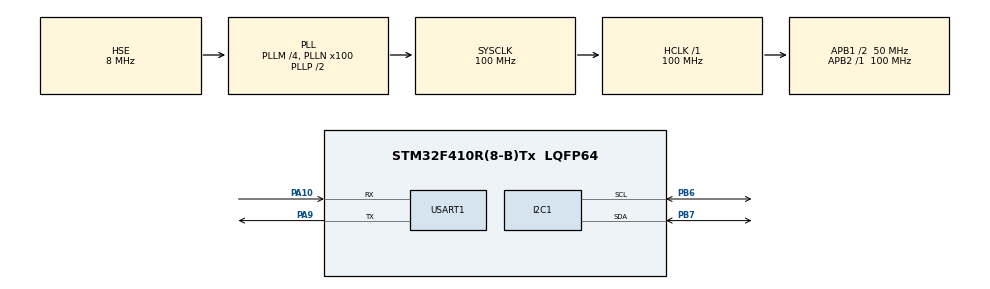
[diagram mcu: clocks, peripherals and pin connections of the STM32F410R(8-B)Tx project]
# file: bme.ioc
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Mcu.Family=STM32F4
Mcu.Name=STM32F410R(8-B)Tx
Mcu.Package=LQFP64
NVIC.PriorityGroup=NVIC_PRIORITYGROUP_4
PA10.Mode=Asynchronous
PA10.Signal=USART1_RX
PA13.Mode=Serial_Wire
PA13.Signal=SYS_JTMS-SWDIO
PA14.Mode=Serial_Wire
PA14.Signal=SYS_JTCK-SWCLK
PA9.Mode=Asynchronous
PA9.Signal=USART1_TX
PB6.Mode=I2C
PB6.Signal=I2C1_SCL
PB7.Mode=I2C
PB7.Signal=I2C1_SDA
PH0\ -\ OSC_IN.Mode=HSE-External-Clock-Source
PH0\ -\ OSC_IN.Signal=RCC_OSC_IN
PH1\ -\ OSC_OUT.Mode=HSE-External-Clock-Source
PH1\ -\ OSC_OUT.Signal=RCC_OSC_OUT
ProjectManager.HeapSize=0x200
ProjectManager.StackSize=0x400
ProjectManager.TargetToolchain=MDK-ARM V5.32
RCC.48MHZClocksFreq_Value=50000000
RCC.AHBFreq_Value=100000000
RCC.APB1CLKDivider=RCC_HCLK_DIV2
RCC.APB1Freq_Value=50000000
RCC.APB1TimFreq_Value=100000000
RCC.APB2Freq_Value=100000000
RCC.APB2TimFreq_Value=100000000
RCC.CortexFreq_Value=100000000
RCC.HCLKFreq_Value=100000000
RCC.HSE_VALUE=8000000
RCC.HSI_VALUE=16000000
RCC.LSE_VALUE=32768
RCC.PLLM=4
RCC.PLLN=100
RCC.PLLSourceVirtual=RCC_PLLSOURCE_HSE
RCC.SYSCLKFreq_VALUE=100000000
RCC.SYSCLKSource=RCC_SYSCLKSOURCE_PLLCLK
RCC.VCOOutputFreq_Value=200000000
USART1.VirtualMode=VM_ASYNC
board=custom

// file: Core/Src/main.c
/* USER CODE BEGIN Header */
/**
  ******************************************************************************
  * @file           : main.c
  * @brief          : Main program body
  ******************************************************************************
  * @attention
  *
  * Copyright (c) 2026 STMicroelectronics.
  * All rights reserved.
  *
  * This software is licensed under terms that can be found in the LICENSE file
  * in the root directory of this software component.
  * If no LICENSE file comes with this software, it is provided AS-IS.
  *
  ******************************************************************************
  */
/* USER CODE END Header */
#include "main.h"

/* USER CODE BEGIN Includes */
#include "ESPLib.h"
#include "bme280.h"
#include <stdio.h>
#include <string.h>
/* USER CODE END Includes */

I2C_HandleTypeDef hi2c1;

UART_HandleTypeDef huart1;

/* USER CODE BEGIN PV */
/* BME280 variables */
struct bme280_dev dev;
struct bme280_data comp_data;
struct bme280_settings settings;
uint32_t previousTime;

int8_t rslt = BME280_OK;

float temperature, pressure, humidity;

/* MQTT payload */
char mqttPayload[150];
/* USER CODE END PV */

void SystemClock_Config(void);
static void MX_GPIO_Init(void);
static void MX_I2C1_Init(void);
static void MX_USART1_UART_Init(void);
/* USER CODE BEGIN PFP */
int8_t user_i2c_read(uint8_t reg_addr,
                     uint8_t *reg_data,
                     uint32_t len,
                     void *intf_ptr);

int8_t user_i2c_write(uint8_t reg_addr,
                      const uint8_t *reg_data,
                      uint32_t len,
                      void *intf_ptr);

void user_delay_us(uint32_t period, void *intf_ptr);
/* USER CODE END PFP */

int main(void)
{

  /* MCU Configuration--------------------------------------------------------*/

  /* Reset of all peripherals, Initializes the Flash interface and the Systick. */
  HAL_Init();

  /* Configure the system clock */
  SystemClock_Config();

  /* Initialize all configured peripherals */
  MX_GPIO_Init();
  MX_I2C1_Init();
  MX_USART1_UART_Init();

/* USER CODE BEGIN 2 */

/* -------- 1. BME280 INITIALIZATION -------- */

static uint8_t dev_addr = BME280_I2C_ADDR_PRIM;  // 0x76

dev.intf_ptr = &dev_addr;
dev.intf = BME280_I2C_INTF;
dev.read = user_i2c_read;
dev.write = user_i2c_write;
dev.delay_us = user_delay_us;

/* Initialize sensor */
rslt = bme280_init(&dev);

if (rslt != BME280_OK)
{
    Error_Handler();
}

/* Configure sensor settings */
settings.osr_h = BME280_OVERSAMPLING_1X;
settings.osr_p = BME280_OVERSAMPLING_1X;
settings.osr_t = BME280_OVERSAMPLING_1X;
settings.filter = BME280_FILTER_COEFF_OFF;
settings.standby_time = BME280_STANDBY_TIME_0_5_MS;

/* Apply settings */
rslt = bme280_set_sensor_settings(
    BME280_SEL_OSR_PRESS |
    BME280_SEL_OSR_TEMP |
    BME280_SEL_OSR_HUM |
    BME280_SEL_FILTER |
    BME280_SEL_STANDBY,
    &settings,
    &dev
);

if (rslt != BME280_OK)
{
    Error_Handler();
}

/* Set normal measurement mode */
rslt = bme280_set_sensor_mode(
    BME280_POWERMODE_NORMAL,
    &dev
);

if (rslt != BME280_OK)
{
    Error_Handler();
}

/* -------- 2. ESP8266 INITIALIZATION -------- */

ESP8266_Init(StationMode, huart1);

/* Configure your Wi-Fi credentials locally; do not commit them. */
ESP8266_wifiConnect("YOUR_WIFI_SSID", "YOUR_WIFI_PASSWORD");

ESP8266_portConnect("TCP", "broker.emqx.io", "1883");

/* -------- 3. MQTT INITIALIZATION -------- */

MQTT_InitTypeDef_t mqttSetting = {0};

mqttSetting.keepAlive = 500;
mqttSetting.connectFlag = CleanSession;
mqttSetting.clientID = "STM32_Publisher";

MQTT_connectBroker(&mqttSetting);

/* Start periodic publishing timer */
previousTime = HAL_GetTick();

/* USER CODE END 2 */

 /* Infinite loop */
while (1)
{

    /* USER CODE BEGIN 3 */

    if (HAL_GetTick() - previousTime >= 1000)
    {
        previousTime = HAL_GetTick();

        rslt = bme280_get_sensor_data(
            BME280_ALL,
            &comp_data,
            &dev
        );

        if (rslt == BME280_OK)
        {
            temperature = comp_data.temperature;
						pressure = comp_data.pressure / 100.0;
						humidity = comp_data.humidity;

            snprintf(
                mqttPayload,
                sizeof(mqttPayload),
                "{\"temperature_c\":%.2f,"
                "\"humidity_pct\":%.2f,"
                "\"pressure_hpa\":%.2f}",
                temperature,
                humidity,
                pressure
            );

            MQTT_publishTopic(
                "farm/field01/telemetry",
                mqttPayload,
                QoS0
            );
        }
    }

    /* USER CODE END 3 */
}
}

void SystemClock_Config(void)
{
  RCC_OscInitTypeDef RCC_OscInitStruct = {0};
  RCC_ClkInitTypeDef RCC_ClkInitStruct = {0};

  /** Configure the main internal regulator output voltage
  */
  __HAL_RCC_PWR_CLK_ENABLE();
  __HAL_PWR_VOLTAGESCALING_CONFIG(PWR_REGULATOR_VOLTAGE_SCALE1);

  /** Initializes the RCC Oscillators according to the specified parameters
  * in the RCC_OscInitTypeDef structure.
  */
  RCC_OscInitStruct.OscillatorType = RCC_OSCILLATORTYPE_HSE;
  RCC_OscInitStruct.HSEState = RCC_HSE_BYPASS;
  RCC_OscInitStruct.PLL.PLLState = RCC_PLL_ON;
  RCC_OscInitStruct.PLL.PLLSource = RCC_PLLSOURCE_HSE;
  RCC_OscInitStruct.PLL.PLLM = 4;
  RCC_OscInitStruct.PLL.PLLN = 100;
  RCC_OscInitStruct.PLL.PLLP = RCC_PLLP_DIV2;
  RCC_OscInitStruct.PLL.PLLQ = 4;
  RCC_OscInitStruct.PLL.PLLR = 2;
  if (HAL_RCC_OscConfig(&RCC_OscInitStruct) != HAL_OK)
  {
    Error_Handler();
  }

  /** Initializes the CPU, AHB and APB buses clocks
  */
  RCC_ClkInitStruct.ClockType = RCC_CLOCKTYPE_HCLK|RCC_CLOCKTYPE_SYSCLK
                              |RCC_CLOCKTYPE_PCLK1|RCC_CLOCKTYPE_PCLK2;
  RCC_ClkInitStruct.SYSCLKSource = RCC_SYSCLKSOURCE_PLLCLK;
  RCC_ClkInitStruct.AHBCLKDivider = RCC_SYSCLK_DIV1;
  RCC_ClkInitStruct.APB1CLKDivider = RCC_HCLK_DIV2;
  RCC_ClkInitStruct.APB2CLKDivider = RCC_HCLK_DIV1;

  if (HAL_RCC_ClockConfig(&RCC_ClkInitStruct, FLASH_LATENCY_3) != HAL_OK)
  {
    Error_Handler();
  }
}

static void MX_I2C1_Init(void)
{

  hi2c1.Instance = I2C1;
  hi2c1.Init.ClockSpeed = 100000;
  hi2c1.Init.DutyCycle = I2C_DUTYCYCLE_2;
  hi2c1.Init.OwnAddress1 = 0;
  hi2c1.Init.AddressingMode = I2C_ADDRESSINGMODE_7BIT;
  hi2c1.Init.DualAddressMode = I2C_DUALADDRESS_DISABLE;
  hi2c1.Init.OwnAddress2 = 0;
  hi2c1.Init.GeneralCallMode = I2C_GENERALCALL_DISABLE;
  hi2c1.Init.NoStretchMode = I2C_NOSTRETCH_DISABLE;
  if (HAL_I2C_Init(&hi2c1) != HAL_OK)
  {
    Error_Handler();
  }

}

static void MX_USART1_UART_Init(void)
{

  huart1.Instance = USART1;
  huart1.Init.BaudRate = 115200;
  huart1.Init.WordLength = UART_WORDLENGTH_8B;
  huart1.Init.StopBits = UART_STOPBITS_1;
  huart1.Init.Parity = UART_PARITY_NONE;
  huart1.Init.Mode = UART_MODE_TX_RX;
  huart1.Init.HwFlowCtl = UART_HWCONTROL_NONE;
  huart1.Init.OverSampling = UART_OVERSAMPLING_16;
  if (HAL_UART_Init(&huart1) != HAL_OK)
  {
    Error_Handler();
  }

}

static void MX_GPIO_Init(void)
{

  /* GPIO Ports Clock Enable */
  __HAL_RCC_GPIOH_CLK_ENABLE();
  __HAL_RCC_GPIOA_CLK_ENABLE();
  __HAL_RCC_GPIOB_CLK_ENABLE();

}

/* USER CODE BEGIN 4 */
/* Read BME280 registers using STM32 I2C */
int8_t user_i2c_read(uint8_t reg_addr,
                     uint8_t *reg_data,
                     uint32_t len,
                     void *intf_ptr)
{
    uint8_t addr = *(uint8_t *)intf_ptr;

    HAL_StatusTypeDef status = HAL_I2C_Mem_Read(
        &hi2c1,
        (uint16_t)(addr << 1),
        reg_addr,
        I2C_MEMADD_SIZE_8BIT,
        reg_data,
        (uint16_t)len,
        1000
    );

    return (status == HAL_OK) ? BME280_OK : BME280_E_COMM_FAIL;
}

/* Write BME280 registers using STM32 I2C */
int8_t user_i2c_write(uint8_t reg_addr,
                      const uint8_t *reg_data,
                      uint32_t len,
                      void *intf_ptr)
{
    uint8_t addr = *(uint8_t *)intf_ptr;

    HAL_StatusTypeDef status = HAL_I2C_Mem_Write(
        &hi2c1,
        (uint16_t)(addr << 1),
        reg_addr,
        I2C_MEMADD_SIZE_8BIT,
        (uint8_t *)reg_data,
        (uint16_t)len,
        1000
    );

    return (status == HAL_OK) ? BME280_OK : BME280_E_COMM_FAIL;
}

/* Convert the Bosch driver's delay request to HAL milliseconds */
void user_delay_us(uint32_t period, void *intf_ptr)
{
    (void)intf_ptr;

    if (period > 0U)
    {
        HAL_Delay((period + 999U) / 1000U);
    }
}
/* USER CODE END 4 */

void Error_Handler(void)
{
  __disable_irq();
  while (1)
  {
  }
}
